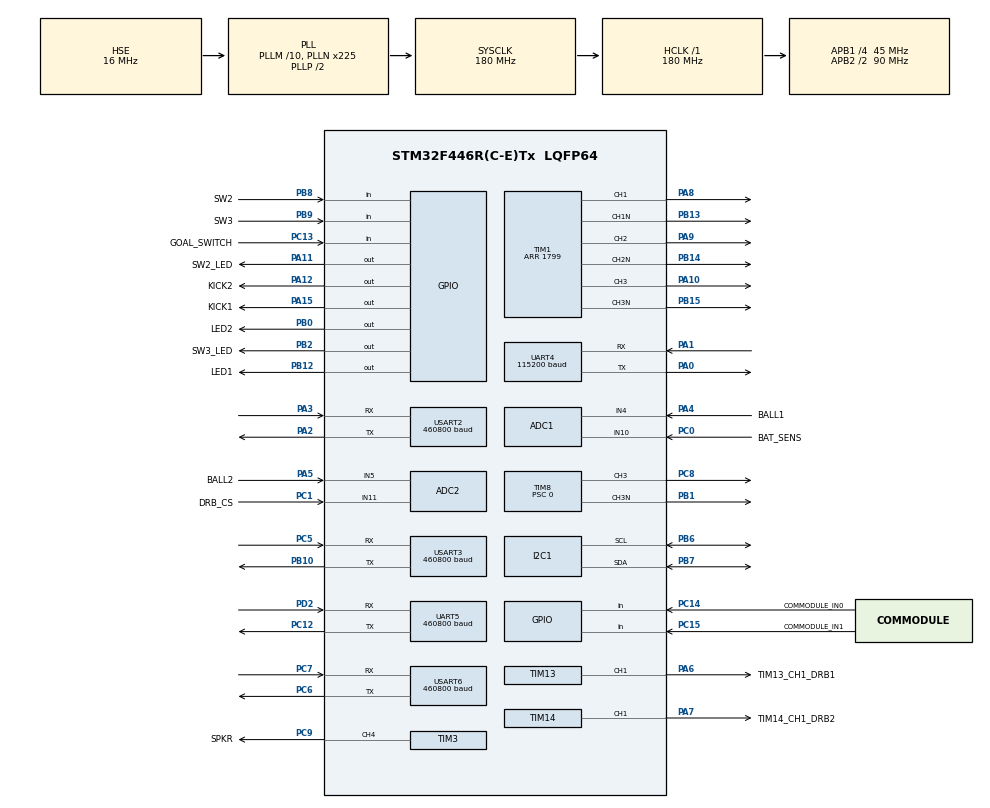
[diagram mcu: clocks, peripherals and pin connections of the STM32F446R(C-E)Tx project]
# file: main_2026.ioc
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ADC1.Channel-0\#ChannelRegularConversion=ADC_CHANNEL_4
ADC1.ClockPrescaler=ADC_CLOCK_SYNC_PCLK_DIV4
ADC1.NbrOfConversionFlag=1
ADC1.Rank-0\#ChannelRegularConversion=1
ADC1.SamplingTime-0\#ChannelRegularConversion=ADC_SAMPLETIME_3CYCLES
ADC1.master=1
ADC2.Channel-0\#ChannelRegularConversion=ADC_CHANNEL_5
ADC2.ClockPrescaler=ADC_CLOCK_SYNC_PCLK_DIV4
ADC2.NbrOfConversionFlag=1
ADC2.Rank-0\#ChannelRegularConversion=1
ADC2.SamplingTime-0\#ChannelRegularConversion=ADC_SAMPLETIME_3CYCLES
Dma.Request0=USART6_RX
Dma.USART6_RX.0.Direction=DMA_PERIPH_TO_MEMORY
Dma.USART6_RX.0.FIFOMode=DMA_FIFOMODE_DISABLE
Dma.USART6_RX.0.Instance=DMA2_Stream1
Dma.USART6_RX.0.MemDataAlignment=DMA_MDATAALIGN_BYTE
Dma.USART6_RX.0.MemInc=DMA_MINC_ENABLE
Dma.USART6_RX.0.Mode=DMA_NORMAL
Dma.USART6_RX.0.PeriphDataAlignment=DMA_PDATAALIGN_BYTE
Dma.USART6_RX.0.PeriphInc=DMA_PINC_DISABLE
Dma.USART6_RX.0.Priority=DMA_PRIORITY_LOW
Mcu.Family=STM32F4
Mcu.Name=STM32F446R(C-E)Tx
Mcu.Package=LQFP64
NVIC.DMA2_Stream1_IRQn=true\:0\:0\:false\:false\:true\:false\:true\:true
NVIC.PriorityGroup=NVIC_PRIORITYGROUP_4
NVIC.RCC_IRQn=true\:0\:0\:false\:false\:true\:true\:false\:true
NVIC.TIM1_BRK_TIM9_IRQn=true\:0\:0\:false\:false\:true\:true\:true\:true
NVIC.TIM6_DAC_IRQn=true\:15\:0\:true\:false\:true\:true\:true\:true
NVIC.TIM8_TRG_COM_TIM14_IRQn=true\:0\:0\:false\:false\:true\:true\:true\:true
NVIC.UART4_IRQn=true\:0\:0\:false\:false\:true\:true\:true\:true
NVIC.UART5_IRQn=true\:0\:0\:false\:false\:true\:true\:true\:true
NVIC.USART2_IRQn=true\:1\:0\:true\:false\:true\:true\:true\:true
NVIC.USART3_IRQn=true\:0\:0\:false\:false\:true\:true\:true\:true
NVIC.USART6_IRQn=true\:0\:0\:false\:false\:true\:true\:true\:true
PA0-WKUP.Mode=Asynchronous
PA0-WKUP.Signal=UART4_TX
PA1.Mode=Asynchronous
PA1.Signal=UART4_RX
PA10.Signal=S_TIM1_CH3
PA11.GPIO_Label=SW2_LED
PA11.Signal=GPIO_Output
PA12.GPIO_Label=KICK2
PA12.GPIO_ModeDefaultOutputPP=GPIO_MODE_OUTPUT_PP
PA12.GPIO_PuPd=GPIO_NOPULL
PA12.PinState=GPIO_PIN_RESET
PA12.Signal=GPIO_Output
PA13.Mode=Serial_Wire
PA13.Signal=SYS_JTMS-SWDIO
PA14.Mode=Serial_Wire
PA14.Signal=SYS_JTCK-SWCLK
PA15.GPIO_Label=KICK1
PA15.GPIO_ModeDefaultOutputPP=GPIO_MODE_OUTPUT_PP
PA15.GPIO_PuPd=GPIO_NOPULL
PA15.Signal=GPIO_Output
PA2.Mode=Asynchronous
PA2.Signal=USART2_TX
PA3.Mode=Asynchronous
PA3.Signal=USART2_RX
PA4.GPIO_Label=BALL1
PA4.Signal=ADCx_IN4
PA5.GPIO_Label=BALL2
PA5.Signal=ADCx_IN5
PA6.GPIO_Label=TIM13_CH1_DRB1
PA6.Signal=S_TIM13_CH1
PA7.GPIO_Label=TIM14_CH1_DRB2
PA7.Signal=S_TIM14_CH1
PA8.Signal=S_TIM1_CH1
PA9.Signal=S_TIM1_CH2
PB0.GPIO_Label=LED2
PB0.Signal=GPIO_Output
PB1.Mode=PWM Generation3 CH3 CH3N
PB1.Signal=TIM8_CH3N
PB10.Mode=Asynchronous
PB10.Signal=USART3_TX
PB12.GPIO_Label=LED1
PB12.Signal=GPIO_Output
PB13.Mode=PWM Generation1 CH1 CH1N
PB13.Signal=TIM1_CH1N
PB14.Mode=PWM Generation2 CH2 CH2N
PB14.Signal=TIM1_CH2N
PB15.Mode=PWM Generation3 CH3 CH3N
PB15.Signal=TIM1_CH3N
PB2.GPIO_Label=SW3_LED
PB2.Signal=GPIO_Output
PB6.Mode=I2C
PB6.Signal=I2C1_SCL
PB7.Mode=I2C
PB7.Signal=I2C1_SDA
PB8.GPIO_Label=SW2
PB8.Signal=GPIO_Input
PB9.GPIO_Label=SW3
PB9.Signal=GPIO_Input
PC0.GPIO_Label=BAT_SENS
PC0.Signal=ADCx_IN10
PC1.GPIO_Label=DRB_CS
PC1.Signal=ADCx_IN11
PC12.Mode=Asynchronous
PC12.Signal=UART5_TX
PC13.GPIO_Label=GOAL_SWITCH
PC13.Signal=GPIO_Input
PC14-OSC32_IN.GPIO_Label=COMMODULE_IN0
PC14-OSC32_IN.Signal=GPIO_Input
PC15-OSC32_OUT.GPIO_Label=COMMODULE_IN1
PC15-OSC32_OUT.Signal=GPIO_Input
PC5.Mode=Asynchronous
PC5.Signal=USART3_RX
PC6.GPIO_PuPd=GPIO_NOPULL
PC6.Mode=Asynchronous
PC6.Signal=USART6_TX
PC7.Mode=Asynchronous
PC7.Signal=USART6_RX
PC8.Signal=S_TIM8_CH3
PC9.GPIO_Label=SPKR
PC9.Signal=S_TIM3_CH4
PD2.Mode=Asynchronous
PD2.Signal=UART5_RX
PH0-OSC_IN.Mode=HSE-External-Oscillator
PH0-OSC_IN.Signal=RCC_OSC_IN
PH1-OSC_OUT.Mode=HSE-External-Oscillator
PH1-OSC_OUT.Signal=RCC_OSC_OUT
ProjectManager.HeapSize=0x200
ProjectManager.StackSize=0x400
ProjectManager.TargetToolchain=STM32CubeIDE
RCC.AHBFreq_Value=180000000
RCC.APB1CLKDivider=RCC_HCLK_DIV4
RCC.APB1Freq_Value=45000000
RCC.APB1TimFreq_Value=90000000
RCC.APB2CLKDivider=RCC_HCLK_DIV2
RCC.APB2Freq_Value=90000000
RCC.APB2TimFreq_Value=180000000
RCC.CortexFreq_Value=180000000
RCC.HCLKFreq_Value=180000000
RCC.HSE_Timout=5000
RCC.HSE_VALUE=16000000
RCC.HSICalibrationValue=31
RCC.PLLM=10
RCC.PLLN=225
RCC.PLLSAIM=20
RCC.PLLSourceVirtual=RCC_PLLSOURCE_HSE
RCC.SYSCLKFreq_VALUE=180000000
RCC.SYSCLKSource=RCC_SYSCLKSOURCE_PLLCLK
RCC.USBFreq_Value=180000000
RCC.VCOOutputFreq_Value=360000000
SH.ADCx_IN10.0=ADC1_IN10,IN10
SH.ADCx_IN11.0=ADC2_IN11,IN11
SH.ADCx_IN4.0=ADC1_IN4,IN4
SH.ADCx_IN5.0=ADC2_IN5,IN5
SH.S_TIM13_CH1.0=TIM13_CH1,PWM Generation1 CH1
SH.S_TIM14_CH1.0=TIM14_CH1,PWM Generation1 CH1
SH.S_TIM1_CH1.0=TIM1_CH1,PWM Generation1 CH1 CH1N
SH.S_TIM1_CH2.0=TIM1_CH2,PWM Generation2 CH2 CH2N
SH.S_TIM1_CH3.0=TIM1_CH3,PWM Generation3 CH3 CH3N
SH.S_TIM3_CH4.0=TIM3_CH4,PWM Generation4 CH4
SH.S_TIM8_CH3.0=TIM8_CH3,PWM Generation3 CH3 CH3N
TIM1.Channel-PWM\ Generation1\ CH1\ CH1N=TIM_CHANNEL_1
TIM1.Channel-PWM\ Generation2\ CH2\ CH2N=TIM_CHANNEL_2
TIM1.Channel-PWM\ Generation3\ CH3\ CH3N=TIM_CHANNEL_3
TIM1.Period=1799
TIM12.Period=100
TIM12.Prescaler=45
TIM13.Channel=TIM_CHANNEL_1
TIM13.Period=100
TIM13.Prescaler=180
TIM14.Channel=TIM_CHANNEL_1
TIM14.Period=100
TIM14.Prescaler=180
TIM2.Period=100
TIM2.Prescaler=45
TIM3.Channel-PWM\ Generation4\ CH4=TIM_CHANNEL_4
TIM3.Period=369
TIM3.Prescaler=89
TIM4.Period=100
TIM4.Prescaler=45
TIM5.Period=65535
TIM5.Prescaler=90
TIM6.Period=200
TIM6.Prescaler=9000
TIM7.Prescaler=45000
TIM8.Channel-PWM\ Generation3\ CH3\ CH3N=TIM_CHANNEL_3
TIM8.Period=1799
TIM8.Prescaler=0
TIM9.Period=9999
TIM9.Prescaler=17999
UART4.BaudRate=115200
UART4.VirtualMode=Asynchronous
UART5.BaudRate=460800
UART5.VirtualMode=Asynchronous
USART2.BaudRate=460800
USART2.VirtualMode=VM_ASYNC
USART3.BaudRate=460800
USART3.VirtualMode=VM_ASYNC
USART6.BaudRate=460800
USART6.VirtualMode=VM_ASYNC
VP_TIM12_VS_ClockSourceINT.Mode=Internal
VP_TIM13_VS_ClockSourceINT.Mode=Enable_Timer
VP_TIM14_VS_ClockSourceINT.Mode=Enable_Timer
VP_TIM2_VS_ClockSourceINT.Mode=Internal
VP_TIM3_VS_ClockSourceINT.Mode=Internal
VP_TIM4_VS_ClockSourceINT.Mode=Internal
VP_TIM5_VS_ClockSourceINT.Mode=Internal
VP_TIM6_VS_ClockSourceINT.Mode=Enable_Timer
VP_TIM7_VS_ClockSourceINT.Mode=Enable_Timer
VP_TIM8_VS_ClockSourceINT.Mode=Internal
VP_TIM9_VS_ClockSourceINT.Mode=Internal
board=custom

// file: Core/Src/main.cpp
/* USER CODE BEGIN Header */
/**
  ******************************************************************************
  * @file           : main.c
  * @brief          : Main program body
  ******************************************************************************
  * @attention
  *
  * Copyright (c) 2026 STMicroelectronics.
  * All rights reserved.
  *
  * This software is licensed under terms that can be found in the LICENSE file
  * in the root directory of this software component.
  * If no LICENSE file comes with this software, it is provided AS-IS.
  *
  ******************************************************************************
  */
/* USER CODE END Header */
#include "main.h"

/* USER CODE BEGIN Includes */
#include "robot.hpp"
#include "BNO055.hpp"
#include <stdio.h>
#include <string.h>

extern "C"
{
#include "UART.h"
}
/* USER CODE END Includes */

ADC_HandleTypeDef hadc1;
ADC_HandleTypeDef hadc2;

I2C_HandleTypeDef hi2c1;

TIM_HandleTypeDef htim1;
TIM_HandleTypeDef htim2;
TIM_HandleTypeDef htim3;
TIM_HandleTypeDef htim4;
TIM_HandleTypeDef htim5;
TIM_HandleTypeDef htim6;
TIM_HandleTypeDef htim7;
TIM_HandleTypeDef htim8;
TIM_HandleTypeDef htim9;
TIM_HandleTypeDef htim12;
TIM_HandleTypeDef htim13;
TIM_HandleTypeDef htim14;

UART_HandleTypeDef huart4;
UART_HandleTypeDef huart5;
UART_HandleTypeDef huart2;
UART_HandleTypeDef huart3;
UART_HandleTypeDef huart6;
DMA_HandleTypeDef hdma_usart6_rx;

void SystemClock_Config(void);
static void MX_GPIO_Init(void);
static void MX_DMA_Init(void);
static void MX_UART4_Init(void);
static void MX_UART5_Init(void);
static void MX_USART2_UART_Init(void);
static void MX_USART3_UART_Init(void);
static void MX_USART6_UART_Init(void);
static void MX_TIM14_Init(void);
static void MX_TIM6_Init(void);
static void MX_TIM2_Init(void);
static void MX_TIM3_Init(void);
static void MX_TIM4_Init(void);
static void MX_TIM12_Init(void);
static void MX_ADC1_Init(void);
static void MX_ADC2_Init(void);
static void MX_TIM13_Init(void);
static void MX_TIM8_Init(void);
static void MX_TIM5_Init(void);
static void MX_TIM7_Init(void);
static void MX_I2C1_Init(void);
static void MX_TIM1_Init(void);
static void MX_TIM9_Init(void);

/* USER CODE BEGIN 0 */
//-------------------------BNO055-----------------------------

unsigned char address = 0x28; // bno055_I2C_address
// QUATERNION q; //いらん
EULAR e; // gyro values. use "e.x e.y e.z" to get eulars

//---------------------------UART-----------------------------

void HAL_UART_RxCpltCallback(UART_HandleTypeDef *huart)
{

  if (huart->Instance == USART1)
  {
  }
  else if (huart->Instance == USART2)
  {

    if (Goal_RB == 254)
    {
      Goal_Received_counter = 0;
    }

    switch (Goal_Received_counter)
    {
    case 1:
      Goal_Blue_angle = ((int16_t)(Goal_RB)) * 360 / 254 - 180;
      break;
    case 2:
      Goal_Blue_size = Goal_RB;
      break;
    case 3:
      Goal_Yellow_angle = ((int16_t)(Goal_RB)) * 360 / 254 - 180;
      break;
    case 4:
      Goal_Yellow_size = Goal_RB;
      break;
    case 5:
      Goal_Blue_angle_range = Goal_RB;
      break;
    case 6:
      Goal_Blue_radius = Goal_RB;
      break;
    case 7:
      Goal_Yellow_angle_range = Goal_RB;
      break;
    case 8:
      Goal_Yellow_radius = Goal_RB;
      break;
    case 9:
      if (Goal_RB != 255)
      {
        Goal_Blue_angle = Goal_Before[0];
        Goal_Blue_size = Goal_Before[1];
        Goal_Yellow_angle = Goal_Before[2];
        Goal_Yellow_size = Goal_Before[3];
        Goal_Blue_angle_range = Goal_Before[4];
        Goal_Blue_radius = Goal_Before[5];
        Goal_Yellow_angle_range = Goal_Before[6];
        Goal_Yellow_radius = Goal_Before[7];
      }
      else
      {
        Goal_Before[0] = Goal_Blue_angle;
        Goal_Before[1] = Goal_Blue_size;
        Goal_Before[2] = Goal_Yellow_angle;
        Goal_Before[3] = Goal_Yellow_size;
        Goal_Before[4] = Goal_Blue_angle_range;
        Goal_Before[5] = Goal_Blue_radius;
        Goal_Before[6] = Goal_Yellow_angle_range;
        Goal_Before[7] = Goal_Yellow_radius;
        if (Goal_Blue_angle != 0 || Goal_Yellow_angle != 0)
        {
          Goal_ava = 1;
        }
      }

    case 11:
      Goal_Received_counter = 10;
      break;
    }

		Goal_Received_counter++;
		HAL_UART_Receive_IT(&huart2, &Goal_RB, 1);

	}else if(huart->Instance == USART3){

	}else if(huart->Instance == UART4){
		UART4_flag = 1;
	}
}

void HAL_UART_ErrorCallback(UART_HandleTypeDef *huart)
{
  if (huart->Instance == USART2)
  {
    HAL_UART_Receive_IT(&huart2, &Goal_RB, 1);
  }
}

void HAL_TIM_PeriodElapsedCallback(TIM_HandleTypeDef *htim){
    if(htim == &htim6){
    	BNO055 bno055(hi2c1,address); //instance化
      e = bno055.get_eular();
    }else if(htim == &htim9){
		ESP32_Comm_flag = 1;
    }
}
/* USER CODE END 0 */

int main(void)
{

  /* MCU Configuration--------------------------------------------------------*/

  /* Reset of all peripherals, Initializes the Flash interface and the Systick. */
  HAL_Init();

  /* Configure the system clock */
  SystemClock_Config();

  /* Initialize all configured peripherals */
  MX_GPIO_Init();
  MX_DMA_Init();
  MX_UART4_Init();
  MX_UART5_Init();
  MX_USART2_UART_Init();
  MX_USART3_UART_Init();
  MX_USART6_UART_Init();
  MX_TIM14_Init();
  MX_TIM6_Init();
  MX_TIM2_Init();
  MX_TIM3_Init();
  MX_TIM4_Init();
  MX_TIM12_Init();
  MX_ADC1_Init();
  MX_ADC2_Init();
  MX_TIM13_Init();
  MX_TIM8_Init();
  MX_TIM5_Init();
  MX_TIM7_Init();
  MX_I2C1_Init();
  MX_TIM1_Init();
  MX_TIM9_Init();
  /* USER CODE BEGIN 2 */
  tim3_halfDuty = __HAL_TIM_GET_AUTORELOAD(&htim3) + 1;
  Japan();
  /* USER CODE END 2 */

  /* Infinite loop */
  while (1)
  {

  }
}

void SystemClock_Config(void)
{
  RCC_OscInitTypeDef RCC_OscInitStruct = {0};
  RCC_ClkInitTypeDef RCC_ClkInitStruct = {0};

  /** Configure the main internal regulator output voltage
  */
  __HAL_RCC_PWR_CLK_ENABLE();
  __HAL_PWR_VOLTAGESCALING_CONFIG(PWR_REGULATOR_VOLTAGE_SCALE1);

  /** Initializes the RCC Oscillators according to the specified parameters
  * in the RCC_OscInitTypeDef structure.
  */
  RCC_OscInitStruct.OscillatorType = RCC_OSCILLATORTYPE_HSE;
  RCC_OscInitStruct.HSEState = RCC_HSE_ON;
  RCC_OscInitStruct.PLL.PLLState = RCC_PLL_ON;
  RCC_OscInitStruct.PLL.PLLSource = RCC_PLLSOURCE_HSE;
  RCC_OscInitStruct.PLL.PLLM = 10;
  RCC_OscInitStruct.PLL.PLLN = 225;
  RCC_OscInitStruct.PLL.PLLP = RCC_PLLP_DIV2;
  RCC_OscInitStruct.PLL.PLLQ = 2;
  RCC_OscInitStruct.PLL.PLLR = 2;
  if (HAL_RCC_OscConfig(&RCC_OscInitStruct) != HAL_OK)
  {
    Error_Handler();
  }

  /** Activate the Over-Drive mode
  */
  if (HAL_PWREx_EnableOverDrive() != HAL_OK)
  {
    Error_Handler();
  }

  /** Initializes the CPU, AHB and APB buses clocks
  */
  RCC_ClkInitStruct.ClockType = RCC_CLOCKTYPE_HCLK|RCC_CLOCKTYPE_SYSCLK
                              |RCC_CLOCKTYPE_PCLK1|RCC_CLOCKTYPE_PCLK2;
  RCC_ClkInitStruct.SYSCLKSource = RCC_SYSCLKSOURCE_PLLCLK;
  RCC_ClkInitStruct.AHBCLKDivider = RCC_SYSCLK_DIV1;
  RCC_ClkInitStruct.APB1CLKDivider = RCC_HCLK_DIV4;
  RCC_ClkInitStruct.APB2CLKDivider = RCC_HCLK_DIV2;

  if (HAL_RCC_ClockConfig(&RCC_ClkInitStruct, FLASH_LATENCY_5) != HAL_OK)
  {
    Error_Handler();
  }
}

static void MX_ADC1_Init(void)
{

  ADC_ChannelConfTypeDef sConfig = {0};

  /** Configure the global features of the ADC (Clock, Resolution, Data Alignment and number of conversion)
  */
  hadc1.Instance = ADC1;
  hadc1.Init.ClockPrescaler = ADC_CLOCK_SYNC_PCLK_DIV4;
  hadc1.Init.Resolution = ADC_RESOLUTION_12B;
  hadc1.Init.ScanConvMode = DISABLE;
  hadc1.Init.ContinuousConvMode = DISABLE;
  hadc1.Init.DiscontinuousConvMode = DISABLE;
  hadc1.Init.ExternalTrigConvEdge = ADC_EXTERNALTRIGCONVEDGE_NONE;
  hadc1.Init.ExternalTrigConv = ADC_SOFTWARE_START;
  hadc1.Init.DataAlign = ADC_DATAALIGN_RIGHT;
  hadc1.Init.NbrOfConversion = 1;
  hadc1.Init.DMAContinuousRequests = DISABLE;
  hadc1.Init.EOCSelection = ADC_EOC_SINGLE_CONV;
  if (HAL_ADC_Init(&hadc1) != HAL_OK)
  {
    Error_Handler();
  }

  /** Configure for the selected ADC regular channel its corresponding rank in the sequencer and its sample time.
  */
  sConfig.Channel = ADC_CHANNEL_4;
  sConfig.Rank = 1;
  sConfig.SamplingTime = ADC_SAMPLETIME_3CYCLES;
  if (HAL_ADC_ConfigChannel(&hadc1, &sConfig) != HAL_OK)
  {
    Error_Handler();
  }

}

static void MX_ADC2_Init(void)
{

  ADC_ChannelConfTypeDef sConfig = {0};

  /** Configure the global features of the ADC (Clock, Resolution, Data Alignment and number of conversion)
  */
  hadc2.Instance = ADC2;
  hadc2.Init.ClockPrescaler = ADC_CLOCK_SYNC_PCLK_DIV4;
  hadc2.Init.Resolution = ADC_RESOLUTION_12B;
  hadc2.Init.ScanConvMode = DISABLE;
  hadc2.Init.ContinuousConvMode = DISABLE;
  hadc2.Init.DiscontinuousConvMode = DISABLE;
  hadc2.Init.ExternalTrigConvEdge = ADC_EXTERNALTRIGCONVEDGE_NONE;
  hadc2.Init.ExternalTrigConv = ADC_SOFTWARE_START;
  hadc2.Init.DataAlign = ADC_DATAALIGN_RIGHT;
  hadc2.Init.NbrOfConversion = 1;
  hadc2.Init.DMAContinuousRequests = DISABLE;
  hadc2.Init.EOCSelection = ADC_EOC_SINGLE_CONV;
  if (HAL_ADC_Init(&hadc2) != HAL_OK)
  {
    Error_Handler();
  }

  /** Configure for the selected ADC regular channel its corresponding rank in the sequencer and its sample time.
  */
  sConfig.Channel = ADC_CHANNEL_5;
  sConfig.Rank = 1;
  sConfig.SamplingTime = ADC_SAMPLETIME_3CYCLES;
  if (HAL_ADC_ConfigChannel(&hadc2, &sConfig) != HAL_OK)
  {
    Error_Handler();
  }

}

static void MX_I2C1_Init(void)
{

  hi2c1.Instance = I2C1;
  hi2c1.Init.ClockSpeed = 100000;
  hi2c1.Init.DutyCycle = I2C_DUTYCYCLE_2;
  hi2c1.Init.OwnAddress1 = 0;
  hi2c1.Init.AddressingMode = I2C_ADDRESSINGMODE_7BIT;
  hi2c1.Init.DualAddressMode = I2C_DUALADDRESS_DISABLE;
  hi2c1.Init.OwnAddress2 = 0;
  hi2c1.Init.GeneralCallMode = I2C_GENERALCALL_DISABLE;
  hi2c1.Init.NoStretchMode = I2C_NOSTRETCH_DISABLE;
  if (HAL_I2C_Init(&hi2c1) != HAL_OK)
  {
    Error_Handler();
  }

}

static void MX_TIM1_Init(void)
{

  TIM_MasterConfigTypeDef sMasterConfig = {0};
  TIM_OC_InitTypeDef sConfigOC = {0};
  TIM_BreakDeadTimeConfigTypeDef sBreakDeadTimeConfig = {0};

  htim1.Instance = TIM1;
  htim1.Init.Prescaler = 0;
  htim1.Init.CounterMode = TIM_COUNTERMODE_UP;
  htim1.Init.Period = 1799;
  htim1.Init.ClockDivision = TIM_CLOCKDIVISION_DIV1;
  htim1.Init.RepetitionCounter = 0;
  htim1.Init.AutoReloadPreload = TIM_AUTORELOAD_PRELOAD_DISABLE;
  if (HAL_TIM_PWM_Init(&htim1) != HAL_OK)
  {
    Error_Handler();
  }
  sMasterConfig.MasterOutputTrigger = TIM_TRGO_RESET;
  sMasterConfig.MasterSlaveMode = TIM_MASTERSLAVEMODE_DISABLE;
  if (HAL_TIMEx_MasterConfigSynchronization(&htim1, &sMasterConfig) != HAL_OK)
  {
    Error_Handler();
  }
  sConfigOC.OCMode = TIM_OCMODE_PWM1;
  sConfigOC.Pulse = 0;
  sConfigOC.OCPolarity = TIM_OCPOLARITY_HIGH;
  sConfigOC.OCNPolarity = TIM_OCNPOLARITY_HIGH;
  sConfigOC.OCFastMode = TIM_OCFAST_DISABLE;
  sConfigOC.OCIdleState = TIM_OCIDLESTATE_RESET;
  sConfigOC.OCNIdleState = TIM_OCNIDLESTATE_RESET;
  if (HAL_TIM_PWM_ConfigChannel(&htim1, &sConfigOC, TIM_CHANNEL_1) != HAL_OK)
  {
    Error_Handler();
  }
  if (HAL_TIM_PWM_ConfigChannel(&htim1, &sConfigOC, TIM_CHANNEL_2) != HAL_OK)
  {
    Error_Handler();
  }
  if (HAL_TIM_PWM_ConfigChannel(&htim1, &sConfigOC, TIM_CHANNEL_3) != HAL_OK)
  {
    Error_Handler();
  }
  sBreakDeadTimeConfig.OffStateRunMode = TIM_OSSR_DISABLE;
  sBreakDeadTimeConfig.OffStateIDLEMode = TIM_OSSI_DISABLE;
  sBreakDeadTimeConfig.LockLevel = TIM_LOCKLEVEL_OFF;
  sBreakDeadTimeConfig.DeadTime = 0;
  sBreakDeadTimeConfig.BreakState = TIM_BREAK_DISABLE;
  sBreakDeadTimeConfig.BreakPolarity = TIM_BREAKPOLARITY_HIGH;
  sBreakDeadTimeConfig.AutomaticOutput = TIM_AUTOMATICOUTPUT_DISABLE;
  if (HAL_TIMEx_ConfigBreakDeadTime(&htim1, &sBreakDeadTimeConfig) != HAL_OK)
  {
    Error_Handler();
  }
  HAL_TIM_MspPostInit(&htim1);

}

static void MX_TIM2_Init(void)
{

  TIM_ClockConfigTypeDef sClockSourceConfig = {0};
  TIM_MasterConfigTypeDef sMasterConfig = {0};

  htim2.Instance = TIM2;
  htim2.Init.Prescaler = 45;
  htim2.Init.CounterMode = TIM_COUNTERMODE_UP;
  htim2.Init.Period = 100;
  htim2.Init.ClockDivision = TIM_CLOCKDIVISION_DIV1;
  htim2.Init.AutoReloadPreload = TIM_AUTORELOAD_PRELOAD_DISABLE;
  if (HAL_TIM_Base_Init(&htim2) != HAL_OK)
  {
    Error_Handler();
  }
  sClockSourceConfig.ClockSource = TIM_CLOCKSOURCE_INTERNAL;
  if (HAL_TIM_ConfigClockSource(&htim2, &sClockSourceConfig) != HAL_OK)
  {
    Error_Handler();
  }
  sMasterConfig.MasterOutputTrigger = TIM_TRGO_RESET;
  sMasterConfig.MasterSlaveMode = TIM_MASTERSLAVEMODE_DISABLE;
  if (HAL_TIMEx_MasterConfigSynchronization(&htim2, &sMasterConfig) != HAL_OK)
  {
    Error_Handler();
  }

}

static void MX_TIM3_Init(void)
{

  TIM_ClockConfigTypeDef sClockSourceConfig = {0};
  TIM_MasterConfigTypeDef sMasterConfig = {0};
  TIM_OC_InitTypeDef sConfigOC = {0};

  htim3.Instance = TIM3;
  htim3.Init.Prescaler = 89;
  htim3.Init.CounterMode = TIM_COUNTERMODE_UP;
  htim3.Init.Period = 369;
  htim3.Init.ClockDivision = TIM_CLOCKDIVISION_DIV1;
  htim3.Init.AutoReloadPreload = TIM_AUTORELOAD_PRELOAD_DISABLE;
  if (HAL_TIM_Base_Init(&htim3) != HAL_OK)
  {
    Error_Handler();
  }
  sClockSourceConfig.ClockSource = TIM_CLOCKSOURCE_INTERNAL;
  if (HAL_TIM_ConfigClockSource(&htim3, &sClockSourceConfig) != HAL_OK)
  {
    Error_Handler();
  }
  if (HAL_TIM_PWM_Init(&htim3) != HAL_OK)
  {
    Error_Handler();
  }
  sMasterConfig.MasterOutputTrigger = TIM_TRGO_RESET;
  sMasterConfig.MasterSlaveMode = TIM_MASTERSLAVEMODE_DISABLE;
  if (HAL_TIMEx_MasterConfigSynchronization(&htim3, &sMasterConfig) != HAL_OK)
  {
    Error_Handler();
  }
  sConfigOC.OCMode = TIM_OCMODE_PWM1;
  sConfigOC.Pulse = 0;
  sConfigOC.OCPolarity = TIM_OCPOLARITY_HIGH;
  sConfigOC.OCFastMode = TIM_OCFAST_DISABLE;
  if (HAL_TIM_PWM_ConfigChannel(&htim3, &sConfigOC, TIM_CHANNEL_4) != HAL_OK)
  {
    Error_Handler();
  }
  HAL_TIM_MspPostInit(&htim3);

}

static void MX_TIM4_Init(void)
{

  TIM_ClockConfigTypeDef sClockSourceConfig = {0};
  TIM_MasterConfigTypeDef sMasterConfig = {0};

  htim4.Instance = TIM4;
  htim4.Init.Prescaler = 45;
  htim4.Init.CounterMode = TIM_COUNTERMODE_UP;
  htim4.Init.Period = 100;
  htim4.Init.ClockDivision = TIM_CLOCKDIVISION_DIV1;
  htim4.Init.AutoReloadPreload = TIM_AUTORELOAD_PRELOAD_DISABLE;
  if (HAL_TIM_Base_Init(&htim4) != HAL_OK)
  {
    Error_Handler();
  }
  sClockSourceConfig.ClockSource = TIM_CLOCKSOURCE_INTERNAL;
  if (HAL_TIM_ConfigClockSource(&htim4, &sClockSourceConfig) != HAL_OK)
  {
    Error_Handler();
  }
  sMasterConfig.MasterOutputTrigger = TIM_TRGO_RESET;
  sMasterConfig.MasterSlaveMode = TIM_MASTERSLAVEMODE_DISABLE;
  if (HAL_TIMEx_MasterConfigSynchronization(&htim4, &sMasterConfig) != HAL_OK)
  {
    Error_Handler();
  }

}

static void MX_TIM5_Init(void)
{

  TIM_ClockConfigTypeDef sClockSourceConfig = {0};
  TIM_MasterConfigTypeDef sMasterConfig = {0};

  htim5.Instance = TIM5;
  htim5.Init.Prescaler = 90;
  htim5.Init.CounterMode = TIM_COUNTERMODE_UP;
  htim5.Init.Period = 65535;
  htim5.Init.ClockDivision = TIM_CLOCKDIVISION_DIV1;
  htim5.Init.AutoReloadPreload = TIM_AUTORELOAD_PRELOAD_DISABLE;
  if (HAL_TIM_Base_Init(&htim5) != HAL_OK)
  {
    Error_Handler();
  }
  sClockSourceConfig.ClockSource = TIM_CLOCKSOURCE_INTERNAL;
  if (HAL_TIM_ConfigClockSource(&htim5, &sClockSourceConfig) != HAL_OK)
  {
    Error_Handler();
  }
  sMasterConfig.MasterOutputTrigger = TIM_TRGO_RESET;
  sMasterConfig.MasterSlaveMode = TIM_MASTERSLAVEMODE_DISABLE;
  if (HAL_TIMEx_MasterConfigSynchronization(&htim5, &sMasterConfig) != HAL_OK)
  {
    Error_Handler();
  }

}

static void MX_TIM6_Init(void)
{

  TIM_MasterConfigTypeDef sMasterConfig = {0};

  htim6.Instance = TIM6;
  htim6.Init.Prescaler = 9000;
  htim6.Init.CounterMode = TIM_COUNTERMODE_UP;
  htim6.Init.Period = 200;
  htim6.Init.AutoReloadPreload = TIM_AUTORELOAD_PRELOAD_DISABLE;
  if (HAL_TIM_Base_Init(&htim6) != HAL_OK)
  {
    Error_Handler();
  }
  sMasterConfig.MasterOutputTrigger = TIM_TRGO_RESET;
  sMasterConfig.MasterSlaveMode = TIM_MASTERSLAVEMODE_DISABLE;
  if (HAL_TIMEx_MasterConfigSynchronization(&htim6, &sMasterConfig) != HAL_OK)
  {
    Error_Handler();
  }

}

static void MX_TIM7_Init(void)
{

  TIM_MasterConfigTypeDef sMasterConfig = {0};

  htim7.Instance = TIM7;
  htim7.Init.Prescaler = 45000;
  htim7.Init.CounterMode = TIM_COUNTERMODE_UP;
  htim7.Init.Period = 65535;
  htim7.Init.AutoReloadPreload = TIM_AUTORELOAD_PRELOAD_DISABLE;
  if (HAL_TIM_Base_Init(&htim7) != HAL_OK)
  {
    Error_Handler();
  }
  sMasterConfig.MasterOutputTrigger = TIM_TRGO_RESET;
  sMasterConfig.MasterSlaveMode = TIM_MASTERSLAVEMODE_DISABLE;
  if (HAL_TIMEx_MasterConfigSynchronization(&htim7, &sMasterConfig) != HAL_OK)
  {
    Error_Handler();
  }

}

static void MX_TIM8_Init(void)
{

  TIM_ClockConfigTypeDef sClockSourceConfig = {0};
  TIM_MasterConfigTypeDef sMasterConfig = {0};
  TIM_OC_InitTypeDef sConfigOC = {0};
  TIM_BreakDeadTimeConfigTypeDef sBreakDeadTimeConfig = {0};

  htim8.Instance = TIM8;
  htim8.Init.Prescaler = 0;
  htim8.Init.CounterMode = TIM_COUNTERMODE_UP;
  htim8.Init.Period = 1799;
  htim8.Init.ClockDivision = TIM_CLOCKDIVISION_DIV1;
  htim8.Init.RepetitionCounter = 0;
  htim8.Init.AutoReloadPreload = TIM_AUTORELOAD_PRELOAD_DISABLE;
  if (HAL_TIM_Base_Init(&htim8) != HAL_OK)
  {
    Error_Handler();
  }
  sClockSourceConfig.ClockSource = TIM_CLOCKSOURCE_INTERNAL;
  if (HAL_TIM_ConfigClockSource(&htim8, &sClockSourceConfig) != HAL_OK)
  {
    Error_Handler();
  }
  if (HAL_TIM_PWM_Init(&htim8) != HAL_OK)
  {
    Error_Handler();
  }
  sMasterConfig.MasterOutputTrigger = TIM_TRGO_RESET;
  sMasterConfig.MasterSlaveMode = TIM_MASTERSLAVEMODE_DISABLE;
  if (HAL_TIMEx_MasterConfigSynchronization(&htim8, &sMasterConfig) != HAL_OK)
  {
    Error_Handler();
  }
  sConfigOC.OCMode = TIM_OCMODE_PWM1;
  sConfigOC.Pulse = 0;
  sConfigOC.OCPolarity = TIM_OCPOLARITY_HIGH;
  sConfigOC.OCNPolarity = TIM_OCNPOLARITY_HIGH;
  sConfigOC.OCFastMode = TIM_OCFAST_DISABLE;
  sConfigOC.OCIdleState = TIM_OCIDLESTATE_RESET;
  sConfigOC.OCNIdleState = TIM_OCNIDLESTATE_RESET;
  if (HAL_TIM_PWM_ConfigChannel(&htim8, &sConfigOC, TIM_CHANNEL_3) != HAL_OK)
  {
    Error_Handler();
  }
  sBreakDeadTimeConfig.OffStateRunMode = TIM_OSSR_DISABLE;
  sBreakDeadTimeConfig.OffStateIDLEMode = TIM_OSSI_DISABLE;
  sBreakDeadTimeConfig.LockLevel = TIM_LOCKLEVEL_OFF;
  sBreakDeadTimeConfig.DeadTime = 0;
  sBreakDeadTimeConfig.BreakState = TIM_BREAK_DISABLE;
  sBreakDeadTimeConfig.BreakPolarity = TIM_BREAKPOLARITY_HIGH;
  sBreakDeadTimeConfig.AutomaticOutput = TIM_AUTOMATICOUTPUT_DISABLE;
  if (HAL_TIMEx_ConfigBreakDeadTime(&htim8, &sBreakDeadTimeConfig) != HAL_OK)
  {
    Error_Handler();
  }
  HAL_TIM_MspPostInit(&htim8);

}

static void MX_TIM9_Init(void)
{

  TIM_ClockConfigTypeDef sClockSourceConfig = {0};

  htim9.Instance = TIM9;
  htim9.Init.Prescaler = 17999;
  htim9.Init.CounterMode = TIM_COUNTERMODE_UP;
  htim9.Init.Period = 9999;
  htim9.Init.ClockDivision = TIM_CLOCKDIVISION_DIV1;
  htim9.Init.AutoReloadPreload = TIM_AUTORELOAD_PRELOAD_DISABLE;
  if (HAL_TIM_Base_Init(&htim9) != HAL_OK)
  {
    Error_Handler();
  }
  sClockSourceConfig.ClockSource = TIM_CLOCKSOURCE_INTERNAL;
  if (HAL_TIM_ConfigClockSource(&htim9, &sClockSourceConfig) != HAL_OK)
  {
    Error_Handler();
  }

}

static void MX_TIM12_Init(void)
{

  TIM_ClockConfigTypeDef sClockSourceConfig = {0};

  htim12.Instance = TIM12;
  htim12.Init.Prescaler = 45;
  htim12.Init.CounterMode = TIM_COUNTERMODE_UP;
  htim12.Init.Period = 100;
  htim12.Init.ClockDivision = TIM_CLOCKDIVISION_DIV1;
  htim12.Init.AutoReloadPreload = TIM_AUTORELOAD_PRELOAD_DISABLE;
  if (HAL_TIM_Base_Init(&htim12) != HAL_OK)
  {
    Error_Handler();
  }
  sClockSourceConfig.ClockSource = TIM_CLOCKSOURCE_INTERNAL;
  if (HAL_TIM_ConfigClockSource(&htim12, &sClockSourceConfig) != HAL_OK)
  {
    Error_Handler();
  }

}

static void MX_TIM13_Init(void)
{

  TIM_OC_InitTypeDef sConfigOC = {0};

  htim13.Instance = TIM13;
  htim13.Init.Prescaler = 180;
  htim13.Init.CounterMode = TIM_COUNTERMODE_UP;
  htim13.Init.Period = 100;
  htim13.Init.ClockDivision = TIM_CLOCKDIVISION_DIV1;
  htim13.Init.AutoReloadPreload = TIM_AUTORELOAD_PRELOAD_DISABLE;
  if (HAL_TIM_Base_Init(&htim13) != HAL_OK)
  {
    Error_Handler();
  }
  if (HAL_TIM_PWM_Init(&htim13) != HAL_OK)
  {
    Error_Handler();
  }
  sConfigOC.OCMode = TIM_OCMODE_PWM1;
  sConfigOC.Pulse = 0;
  sConfigOC.OCPolarity = TIM_OCPOLARITY_HIGH;
  sConfigOC.OCFastMode = TIM_OCFAST_DISABLE;
  if (HAL_TIM_PWM_ConfigChannel(&htim13, &sConfigOC, TIM_CHANNEL_1) != HAL_OK)
  {
    Error_Handler();
  }
  HAL_TIM_MspPostInit(&htim13);

}

static void MX_TIM14_Init(void)
{

  TIM_OC_InitTypeDef sConfigOC = {0};

  htim14.Instance = TIM14;
  htim14.Init.Prescaler = 180;
  htim14.Init.CounterMode = TIM_COUNTERMODE_UP;
  htim14.Init.Period = 100;
  htim14.Init.ClockDivision = TIM_CLOCKDIVISION_DIV1;
  htim14.Init.AutoReloadPreload = TIM_AUTORELOAD_PRELOAD_DISABLE;
  if (HAL_TIM_Base_Init(&htim14) != HAL_OK)
  {
    Error_Handler();
  }
  if (HAL_TIM_PWM_Init(&htim14) != HAL_OK)
  {
    Error_Handler();
  }
  sConfigOC.OCMode = TIM_OCMODE_PWM1;
  sConfigOC.Pulse = 0;
  sConfigOC.OCPolarity = TIM_OCPOLARITY_HIGH;
  sConfigOC.OCFastMode = TIM_OCFAST_DISABLE;
  if (HAL_TIM_PWM_ConfigChannel(&htim14, &sConfigOC, TIM_CHANNEL_1) != HAL_OK)
  {
    Error_Handler();
  }
  HAL_TIM_MspPostInit(&htim14);

}

static void MX_UART4_Init(void)
{

  huart4.Instance = UART4;
  huart4.Init.BaudRate = 115200;
  huart4.Init.WordLength = UART_WORDLENGTH_8B;
  huart4.Init.StopBits = UART_STOPBITS_1;
  huart4.Init.Parity = UART_PARITY_NONE;
  huart4.Init.Mode = UART_MODE_TX_RX;
  huart4.Init.HwFlowCtl = UART_HWCONTROL_NONE;
  huart4.Init.OverSampling = UART_OVERSAMPLING_16;
  if (HAL_UART_Init(&huart4) != HAL_OK)
  {
    Error_Handler();
  }

}

static void MX_UART5_Init(void)
{

  huart5.Instance = UART5;
  huart5.Init.BaudRate = 460800;
  huart5.Init.WordLength = UART_WORDLENGTH_8B;
  huart5.Init.StopBits = UART_STOPBITS_1;
  huart5.Init.Parity = UART_PARITY_NONE;
  huart5.Init.Mode = UART_MODE_TX_RX;
  huart5.Init.HwFlowCtl = UART_HWCONTROL_NONE;
  huart5.Init.OverSampling = UART_OVERSAMPLING_16;
  if (HAL_UART_Init(&huart5) != HAL_OK)
  {
    Error_Handler();
  }

}

static void MX_USART2_UART_Init(void)
{

  huart2.Instance = USART2;
  huart2.Init.BaudRate = 460800;
  huart2.Init.WordLength = UART_WORDLENGTH_8B;
  huart2.Init.StopBits = UART_STOPBITS_1;
  huart2.Init.Parity = UART_PARITY_NONE;
  huart2.Init.Mode = UART_MODE_TX_RX;
  huart2.Init.HwFlowCtl = UART_HWCONTROL_NONE;
  huart2.Init.OverSampling = UART_OVERSAMPLING_16;
  if (HAL_UART_Init(&huart2) != HAL_OK)
  {
    Error_Handler();
  }

}

static void MX_USART3_UART_Init(void)
{

  huart3.Instance = USART3;
  huart3.Init.BaudRate = 460800;
  huart3.Init.WordLength = UART_WORDLENGTH_8B;
  huart3.Init.StopBits = UART_STOPBITS_1;
  huart3.Init.Parity = UART_PARITY_NONE;
  huart3.Init.Mode = UART_MODE_TX_RX;
  huart3.Init.HwFlowCtl = UART_HWCONTROL_NONE;
  huart3.Init.OverSampling = UART_OVERSAMPLING_16;
  if (HAL_UART_Init(&huart3) != HAL_OK)
  {
    Error_Handler();
  }

}

static void MX_USART6_UART_Init(void)
{

  huart6.Instance = USART6;
  huart6.Init.BaudRate = 460800;
  huart6.Init.WordLength = UART_WORDLENGTH_8B;
  huart6.Init.StopBits = UART_STOPBITS_1;
  huart6.Init.Parity = UART_PARITY_NONE;
  huart6.Init.Mode = UART_MODE_TX_RX;
  huart6.Init.HwFlowCtl = UART_HWCONTROL_NONE;
  huart6.Init.OverSampling = UART_OVERSAMPLING_16;
  if (HAL_UART_Init(&huart6) != HAL_OK)
  {
    Error_Handler();
  }

}

static void MX_DMA_Init(void)
{

  /* DMA controller clock enable */
  __HAL_RCC_DMA2_CLK_ENABLE();

  /* DMA interrupt init */
  /* DMA2_Stream1_IRQn interrupt configuration */
  HAL_NVIC_SetPriority(DMA2_Stream1_IRQn, 0, 0);
  HAL_NVIC_EnableIRQ(DMA2_Stream1_IRQn);

}

static void MX_GPIO_Init(void)
{
  GPIO_InitTypeDef GPIO_InitStruct = {0};

  /* GPIO Ports Clock Enable */
  __HAL_RCC_GPIOC_CLK_ENABLE();
  __HAL_RCC_GPIOH_CLK_ENABLE();
  __HAL_RCC_GPIOA_CLK_ENABLE();
  __HAL_RCC_GPIOB_CLK_ENABLE();
  __HAL_RCC_GPIOD_CLK_ENABLE();

  /*Configure GPIO pin Output Level */
  HAL_GPIO_WritePin(GPIOB, LED2_Pin|SW3_LED_Pin|LED1_Pin, GPIO_PIN_RESET);

  /*Configure GPIO pin Output Level */
  HAL_GPIO_WritePin(GPIOA, SW2_LED_Pin|KICK2_Pin|KICK1_Pin, GPIO_PIN_RESET);

  /*Configure GPIO pins : GOAL_SWITCH_Pin COMMODULE_IN0_Pin COMMODULE_IN1_Pin */
  GPIO_InitStruct.Pin = GOAL_SWITCH_Pin|COMMODULE_IN0_Pin|COMMODULE_IN1_Pin;
  GPIO_InitStruct.Mode = GPIO_MODE_INPUT;
  GPIO_InitStruct.Pull = GPIO_NOPULL;
  HAL_GPIO_Init(GPIOC, &GPIO_InitStruct);

  /*Configure GPIO pins : LED2_Pin SW3_LED_Pin LED1_Pin */
  GPIO_InitStruct.Pin = LED2_Pin|SW3_LED_Pin|LED1_Pin;
  GPIO_InitStruct.Mode = GPIO_MODE_OUTPUT_PP;
  GPIO_InitStruct.Pull = GPIO_NOPULL;
  GPIO_InitStruct.Speed = GPIO_SPEED_FREQ_LOW;
  HAL_GPIO_Init(GPIOB, &GPIO_InitStruct);

  /*Configure GPIO pins : SW2_LED_Pin KICK2_Pin KICK1_Pin */
  GPIO_InitStruct.Pin = SW2_LED_Pin|KICK2_Pin|KICK1_Pin;
  GPIO_InitStruct.Mode = GPIO_MODE_OUTPUT_PP;
  GPIO_InitStruct.Pull = GPIO_NOPULL;
  GPIO_InitStruct.Speed = GPIO_SPEED_FREQ_LOW;
  HAL_GPIO_Init(GPIOA, &GPIO_InitStruct);

  /*Configure GPIO pins : SW2_Pin SW3_Pin */
  GPIO_InitStruct.Pin = SW2_Pin|SW3_Pin;
  GPIO_InitStruct.Mode = GPIO_MODE_INPUT;
  GPIO_InitStruct.Pull = GPIO_NOPULL;
  HAL_GPIO_Init(GPIOB, &GPIO_InitStruct);

}

void Error_Handler(void)
{
  __disable_irq();
  while (1)
  {
  }
}
